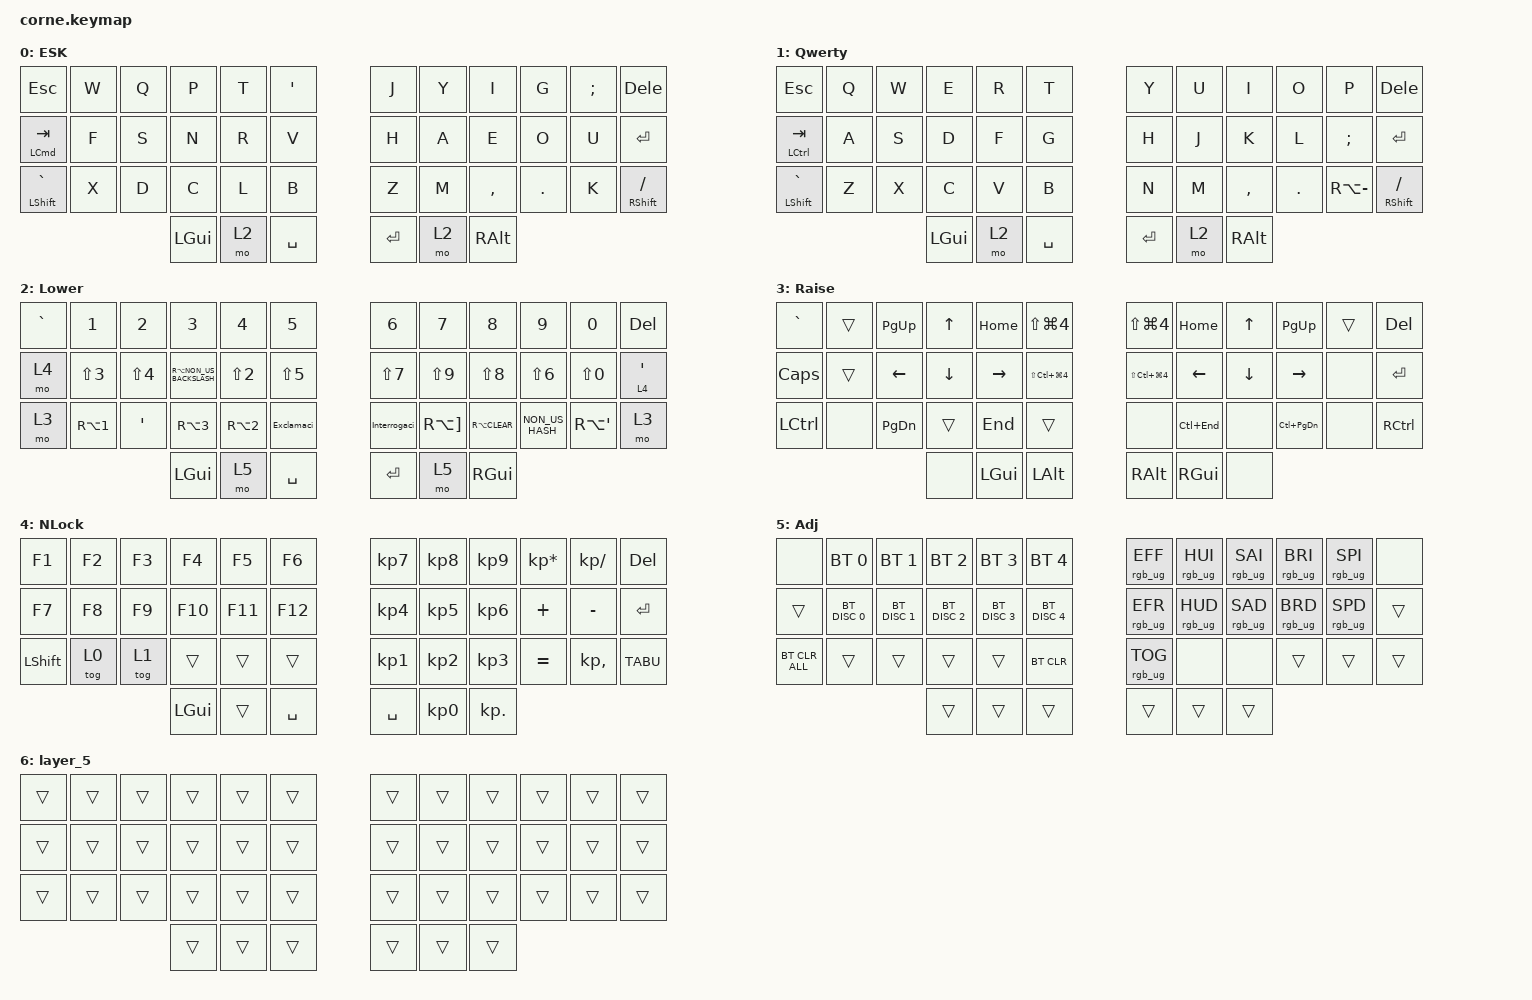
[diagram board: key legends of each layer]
/*
 * Copyright (c) 2020 The ZMK Contributors
 *
 * SPDX-License-Identifier: MIT
 */

#include <dt-bindings/zmk/mouse.h>
#include <behaviors.dtsi>
#include <dt-bindings/zmk/bt.h>
#include <dt-bindings/zmk/keys.h>
#include <dt-bindings/zmk/rgb.h>

/ {
    behaviors {
        Interrogaci: Interrogaci_n {
            compatible = "zmk,behavior-tap-dance";
            label = "INTERROGACIÓN";
            #binding-cells = <0>;
            bindings = <&kp LS(MINUS)>, <&kp LS(EQUAL)>;
        };

        Exclamaci: Exclamaci_n {
            compatible = "zmk,behavior-tap-dance";
            label = "EXCLAMACIÓN";
            #binding-cells = <0>;
            bindings = <&kp LS(NUMBER_1)>, <&kp LS(EQUAL)>;
        };

        Dele: Del_Mod {
            compatible = "zmk,behavior-mod-morph";
            label = "DEL MOD";
            bindings = <&kp BACKSPACE>, <&kp DEL>;

            #binding-cells = <0>;
            mods = <(MOD_LSFT|MOD_RSFT)>;
            keep-mods = <(MOD_LSFT|MOD_RSFT)>;
        };

        TABU: TABU {
            compatible = "zmk,behavior-tap-dance";
            label = "TABU";
            #binding-cells = <0>;
            bindings = <&kp TAB>, <&kp LS(TAB)>;
        };
    };

    keymap {
        compatible = "zmk,keymap";

        ESK {
            // -----------------------------------------------------------------------------------------
            // |  TAB |  Q  |  W  |  E  |  R  |  T  |   |  Y  |  U   |  I  |  O  |  P  | BKSP |
            // | CTRL |  A  |  S  |  D  |  F  |  G  |   |  H  |  J   |  K  |  L  |  ;  |  '   |
            // | SHFT |  Z  |  X  |  C  |  V  |  B  |   |  N  |  M   |  ,  |  .  |  /  | ESC  |
            //                    | GUI | LWR | SPC |   | ENT | RSE  | ALT |

            bindings = <
&kp ESC          &kp W  &kp Q  &kp P     &kp T  &kp SINGLE_QUOTE  &kp J      &kp Y  &kp I      &kp G    &kp SEMICOLON  &Dele
&mt LCMD TAB     &kp F  &kp S  &kp N     &kp R  &kp V             &kp H      &kp A  &kp E      &kp O    &kp U          &kp ENTER
&mt LSHFT GRAVE  &kp X  &kp D  &kp C     &kp L  &kp B             &kp Z      &kp M  &kp COMMA  &kp DOT  &kp K          &mt RSHFT SLASH
                               &kp LGUI  &mo 2  &kp SPACE         &kp ENTER  &mo 2  &kp RALT
            >;
        };

        Qwerty {
            // -----------------------------------------------------------------------------------------
            // |  TAB |  1  |  2  |  3  |  4  |  5  |   |  6  |  7  |  8  |  9  |  0  | BKSP |
            // | BTCLR| BT1 | BT2 | BT3 | BT4 | BT5 |   | LFT | DWN |  UP | RGT |     |      |
            // | SHFT |     |     |     |     |     |   |     |     |     |     |     |      |
            //                    | GUI |     | SPC |   | ENT |     | ALT |

            bindings = <
&kp ESC          &kp Q  &kp W  &kp E     &kp R  &kp T      &kp Y      &kp U  &kp I      &kp O       &kp P          &Dele
&mt LCTRL TAB    &kp A  &kp S  &kp D     &kp F  &kp G      &kp H      &kp J  &kp K      &kp L       &kp SEMICOLON  &kp ENTER
&mt LSHFT GRAVE  &kp Z  &kp X  &kp C     &kp V  &kp B      &kp N      &kp M  &kp COMMA  &kp PERIOD  &kp RA(MINUS)  &mt RSHFT SLASH
                               &kp LGUI  &mo 2  &kp SPACE  &kp ENTER  &mo 2  &kp RALT
            >;
        };

        Lower {
            bindings = <
&kp GRAVE  &kp NUMBER_1      &kp NUMBER_2      &kp NUMBER_3              &kp NUMBER_4      &kp N5      &kp NUMBER_6  &kp N7                 &kp N8         &kp N9            &kp N0                &kp DEL
&mo 4      &kp LS(NUMBER_3)  &kp LS(NUMBER_4)  &kp RA(NON_US_BACKSLASH)  &kp LS(NUMBER_2)  &kp LS(N5)  &kp LS(N7)    &kp LS(N9)             &kp LS(N8)     &kp LS(NUMBER_6)  &kp LS(N0)            &lt 4 SINGLE_QUOTE
&mo 3      &kp RA(NUMBER_1)  &kp SQT           &kp RA(NUMBER_3)          &kp RA(NUMBER_2)  &Exclamaci  &Interrogaci  &kp RA(RIGHT_BRACKET)  &kp RA(CLEAR)  &kp NON_US_HASH   &kp RA(SINGLE_QUOTE)  &mo 3
                                               &kp LGUI                  &mo 5             &kp SPACE   &kp ENTER     &mo 5                  &kp RGUI
            >;
        };

        Raise {
            // -----------------------------------------------------------------------------------------
            // |  TAB |  !  |  @  |  #  |  $  |  %  |   |  ^  |  &  |  *  |  (  |  )  | BKSP |
            // | CTRL |     |     |     |     |     |   |  -  |  =  |  [  |  ]  |  \  |  `   |
            // | SHFT |     |     |     |     |     |   |  _  |  +  |  {  |  }  | "|" |  ~   |
            //                    | GUI |     | SPC |   | ENT |     | ALT |

            bindings = <
&kp GRAVE  &trans  &kp PG_UP  &kp UP    &kp HOME   &kp LS(LG(NUMBER_4))      &kp LS(LG(NUMBER_4))      &kp HOME     &kp UP_ARROW  &kp PG_UP          &trans  &kp DEL
&kp CAPS   &trans  &kp LEFT   &kp DOWN  &kp RIGHT  &kp LS(LC(LG(NUMBER_4)))  &kp LS(LC(LG(NUMBER_4)))  &kp LEFT     &kp DOWN      &kp RIGHT          &none   &kp ENTER
&kp LCTRL  &none   &kp PG_DN  &trans    &kp END    &trans                    &none                     &kp LC(END)  &none         &kp LC(PAGE_DOWN)  &none   &kp RCTRL
                              &none     &kp LGUI   &kp LALT                  &kp RALT                  &kp RGUI     &none
            >;
        };

        NLock {
            bindings = <
&kp F1     &kp F2  &kp F3  &kp F4    &kp F5   &kp F6     &kp KP_NUMBER_7  &kp KP_NUMBER_8  &kp KP_NUMBER_9  &kp KP_ASTERISK  &kp KP_DIVIDE  &kp DEL
&kp F7     &kp F8  &kp F9  &kp F10   &kp F11  &kp F12    &kp KP_NUMBER_4  &kp KP_NUMBER_5  &kp KP_NUMBER_6  &kp PLUS         &kp MINUS      &kp ENTER
&kp LSHFT  &tog 0  &tog 1  &trans    &trans   &trans     &kp KP_NUMBER_1  &kp KP_NUMBER_2  &kp KP_NUMBER_3  &kp EQUAL        &kp KP_COMMA   &TABU
                           &kp LGUI  &trans   &kp SPACE  &kp SPACE        &kp KP_NUMBER_0  &kp KP_DOT
            >;
        };

        Adj {
            bindings = <
&none           &bt BT_SEL 0   &bt BT_SEL 1   &bt BT_SEL 2   &bt BT_SEL 3   &bt BT_SEL 4   &rgb_ug RGB_EFF  &rgb_ug RGB_HUI  &rgb_ug RGB_SAI  &rgb_ug RGB_BRI  &rgb_ug RGB_SPI  &none
&trans          &bt BT_DISC 0  &bt BT_DISC 1  &bt BT_DISC 2  &bt BT_DISC 3  &bt BT_DISC 4  &rgb_ug RGB_EFR  &rgb_ug RGB_HUD  &rgb_ug RGB_SAD  &rgb_ug RGB_BRD  &rgb_ug RGB_SPD  &trans
&bt BT_CLR_ALL  &trans         &trans         &trans         &trans         &bt BT_CLR     &rgb_ug RGB_TOG  &none            &none            &trans           &trans           &trans
                                              &trans         &trans         &trans         &trans           &trans           &trans
            >;
        };

        layer_5 {
            bindings = <
&trans  &trans  &trans  &trans  &trans  &trans  &trans  &trans  &trans  &trans  &trans  &trans
&trans  &trans  &trans  &trans  &trans  &trans  &trans  &trans  &trans  &trans  &trans  &trans
&trans  &trans  &trans  &trans  &trans  &trans  &trans  &trans  &trans  &trans  &trans  &trans
                        &trans  &trans  &trans  &trans  &trans  &trans
            >;
        };
    };
};
